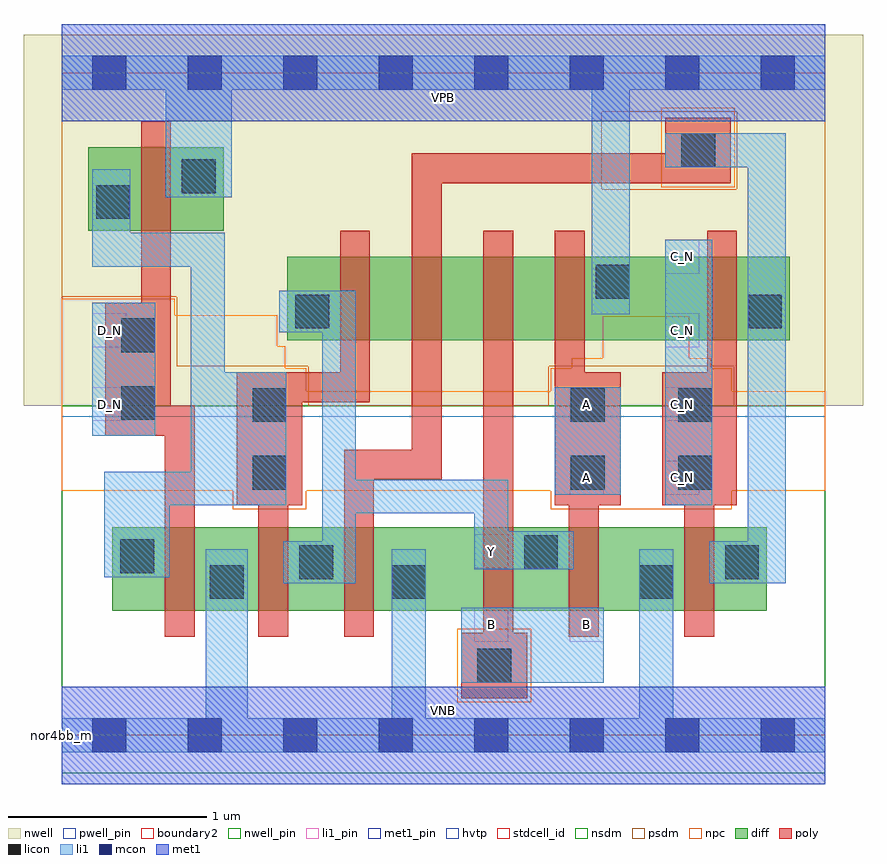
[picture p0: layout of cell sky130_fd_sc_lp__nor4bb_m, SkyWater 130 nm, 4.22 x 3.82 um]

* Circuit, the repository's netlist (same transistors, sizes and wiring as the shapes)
* Copyright 2020 The SkyWater PDK Authors
*
* Licensed under the Apache License, Version 2.0 (the "License");
* you may not use this file except in compliance with the License.
* You may obtain a copy of the License at
*
*     https://www.apache.org/licenses/LICENSE-2.0
*
* Unless required by applicable law or agreed to in writing, software
* distributed under the License is distributed on an "AS IS" BASIS,
* WITHOUT WARRANTIES OR CONDITIONS OF ANY KIND, either express or implied.
* See the License for the specific language governing permissions and
* limitations under the License.
*
* SPDX-License-Identifier: Apache-2.0

.SUBCKT sky130_fd_sc_lp__nor4bb_m A B C_N D_N VGND VNB VPB VPWR Y
*.PININFO A:I B:I C_N:I D_N:I VGND:I VNB:I VPB:I VPWR:I Y:O
MMP0 VPWR A sndPA VPB sky130_fd_pr__pfet_01v8_hvt m=1 w=0.42U l=0.15U mult=1 sa=0.265
+ sb=0.265 sd=0.28 area=0.063 perim=1.14
MMP1 sndPA B sndPB VPB sky130_fd_pr__pfet_01v8_hvt m=1 w=0.42U l=0.15U mult=1 sa=0.265
+ sb=0.265 sd=0.28 area=0.063 perim=1.14
MMP2 sndPB C sndPC VPB sky130_fd_pr__pfet_01v8_hvt m=1 w=0.42U l=0.15U mult=1 sa=0.265
+ sb=0.265 sd=0.28 area=0.063 perim=1.14
MMP3 sndPC D Y VPB sky130_fd_pr__pfet_01v8_hvt m=1 w=0.42U l=0.15U mult=1 sa=0.265
+ sb=0.265 sd=0.28 area=0.063 perim=1.14
MMIP2 C C_N VPWR VPB sky130_fd_pr__pfet_01v8_hvt m=1 w=0.42U l=0.15U mult=1 sa=0.265
+ sb=0.265 sd=0.28 area=0.063 perim=1.14
MMIP3 D D_N VPWR VPB sky130_fd_pr__pfet_01v8_hvt m=1 w=0.42U l=0.15U mult=1 sa=0.265
+ sb=0.265 sd=0.28 area=0.063 perim=1.14
MMN0 Y A VGND VNB sky130_fd_pr__nfet_01v8 m=1 w=0.42U l=0.15U mult=1 sa=0.265 sb=0.265
+ sd=0.28 area=0.063 perim=1.14
MMN1 Y B VGND VNB sky130_fd_pr__nfet_01v8 m=1 w=0.42U l=0.15U mult=1 sa=0.265 sb=0.265
+ sd=0.28 area=0.063 perim=1.14
MMN2 Y C VGND VNB sky130_fd_pr__nfet_01v8 m=1 w=0.42U l=0.15U mult=1 sa=0.265 sb=0.265
+ sd=0.28 area=0.063 perim=1.14
MMN3 Y D VGND VNB sky130_fd_pr__nfet_01v8 m=1 w=0.42U l=0.15U mult=1 sa=0.265 sb=0.265
+ sd=0.28 area=0.063 perim=1.14
MMIN2 C C_N VGND VNB sky130_fd_pr__nfet_01v8 m=1 w=0.42U l=0.15U mult=1 sa=0.265
+ sb=0.265 sd=0.28 area=0.063 perim=1.14
MMIN3 D D_N VGND VNB sky130_fd_pr__nfet_01v8 m=1 w=0.42U l=0.15U mult=1 sa=0.265
+ sb=0.265 sd=0.28 area=0.063 perim=1.14
.ENDS sky130_fd_sc_lp__nor4bb_m

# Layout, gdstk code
import gdstk
lib = gdstk.Library(unit=1e-6, precision=1e-09)
def R(c, l, rs):  # rectangles x0, y0, x1, y1
    for r in rs: c.add(gdstk.rectangle(r[:2], r[2:], *l))
def A(c, l, x, y, w, h, nx, ny, dx, dy):  # array of equal rectangles
    R(c, l, [(x+i*dx, y+j*dy, x+i*dx+w, y+j*dy+h) for i in range(nx) for j in range(ny)])
def P(c, l, *ps):  # polygons
    for p in ps: c.add(gdstk.Polygon(p, *l))
nwell_pin = (64, 16)
nwell = (64, 20)
diff = (65, 20)
poly = (66, 20)
licon = (66, 44)
li1_pin = (67, 16)
li1 = (67, 20)
mcon = (67, 44)
met1_pin = (68, 16)
met1 = (68, 20)
hvtp = (78, 44)
stdcell_id = (81, 4)
nsdm = (93, 44)
psdm = (94, 20)
npc = (95, 20)
pwell_pin = (122, 16)
boundary2 = (236, 0)

sky130_fd_sc_lp__nor4bb_ = lib.new_cell('sky130_fd_sc_lp__nor4bb_m')
R(sky130_fd_sc_lp__nor4bb_, nwell_pin, [(0,3.085,3.84,3.33)])
R(sky130_fd_sc_lp__nor4bb_, nwell, [(-0.19,1.655,4.03,3.52)])
R(sky130_fd_sc_lp__nor4bb_, diff, [(0.255,0.625,3.545,1.045), (1.135,1.985,3.66,2.405), (0.135,2.535,0.815,2.955)])
P(sky130_fd_sc_lp__nor4bb_, poly, [(0.67,1.655),(0.55,1.655),(0.55,3.085),(0.4,3.085),(0.4,2.175),(0.22,2.175),(0.22,1.505),(0.52,1.505),(0.52,0.495),(0.67,0.495)],
  [(1.55,2.535),(1.4,2.535),(1.4,1.825),(0.88,1.825),(0.88,1.155),(0.99,1.155),(0.99,0.495),(1.14,0.495),(1.14,1.155),(1.21,1.155),(1.21,1.675),(1.55,1.675)],
  [(2.34,0.515),(2.27,0.515),(2.27,2.535),(2.12,2.535),(2.12,0.515),(2.01,0.515),(2.01,0.185),(2.34,0.185)],
  [(2.81,1.825),(2.63,1.825),(2.63,2.535),(2.48,2.535),(2.48,1.155),(2.55,1.155),(2.55,0.495),(2.7,0.495),(2.7,1.155),(2.81,1.155)],
  [(3.365,3.105),(3.035,3.105),(3.035,2.925),(1.76,2.925),(1.76,1.435),(1.42,1.435),(1.42,0.495),(1.57,0.495),(1.57,1.285),(1.91,1.285),(1.91,2.775),(3.365,2.775)],
  [(3.395,2.535),(3.245,2.535),(3.245,1.825),(3.02,1.825),(3.02,1.155),(3.13,1.155),(3.13,0.495),(3.28,0.495),(3.28,1.155),(3.395,1.155)])
R(sky130_fd_sc_lp__nor4bb_, licon, [(2.09,0.265,2.26,0.435), (0.745,0.685,0.915,0.855), (1.66,0.685,1.83,0.855), (2.905,0.685,3.075,0.855), (1.195,0.785,1.365,0.955), (3.335,0.785,3.505,0.955), (0.295,0.815,0.465,0.985), (2.325,0.835,2.495,1.005), (0.96,1.235,1.13,1.405), (2.56,1.235,2.73,1.405), (3.1,1.235,3.27,1.405), (0.96,1.575,1.13,1.745), (2.56,1.575,2.73,1.745), (3.1,1.575,3.27,1.745), (0.3,1.585,0.47,1.755), (0.3,1.925,0.47,2.095), (1.175,2.045,1.345,2.215), (3.45,2.045,3.62,2.215), (2.685,2.195,2.855,2.365), (0.175,2.595,0.345,2.765), (0.605,2.725,0.775,2.895), (3.115,2.855,3.285,3.025)])
A(sky130_fd_sc_lp__nor4bb_, li1_pin, 3.035, 1.21, 0.17, 0.17, 1, 4, 0, 0.37)
R(sky130_fd_sc_lp__nor4bb_, li1_pin, [(2.075,0.47,2.245,0.64), (2.555,0.47,2.725,0.64), (2.075,0.84,2.245,1.01), (2.555,1.21,2.725,1.38), (0.155,1.58,0.325,1.75), (2.555,1.58,2.725,1.75), (0.155,1.95,0.325,2.12)])
R(sky130_fd_sc_lp__nor4bb_, li1, [(2.01,0.265,2.725,0.64), (3.035,1.155,3.27,2.49), (2.48,1.21,2.81,1.75), (0.155,1.505,0.47,2.175)])
P(sky130_fd_sc_lp__nor4bb_, li1, [(0.525,2.705),(0.525,3.245),(0,3.245),(0,3.415),(3.84,3.415),(3.84,3.245),(2.855,3.245),(2.855,2.115),(2.665,2.115),(2.665,3.245),(0.855,3.245),(0.855,2.705)],
  [(0.725,0.085),(0.725,0.935),(0.935,0.935),(0.935,0.085),(1.66,0.085),(1.66,0.935),(1.83,0.935),(1.83,0.085),(2.905,0.085),(2.905,0.935),(3.075,0.935),(3.075,0.085),(3.84,0.085),(3.84,-0.085),(0,-0.085),(0,0.085)],
  [(1.095,2.025),(1.095,2.235),(1.48,2.235),(1.48,1.285),(2.245,1.285),(2.245,1.025),(2.575,1.025),(2.575,0.835),(2.075,0.835),(2.075,1.115),(1.48,1.115),(1.48,0.765),(1.115,0.765),(1.115,0.975),(1.31,0.975),(1.31,2.025)],
  [(3.45,2.855),(3.035,2.855),(3.035,3.025),(3.64,3.025),(3.64,0.765),(3.255,0.765),(3.255,0.975),(3.45,0.975)],
  [(0.345,2.525),(0.82,2.525),(0.82,1.825),(1.13,1.825),(1.13,1.155),(0.545,1.155),(0.545,0.795),(0.215,0.795),(0.215,1.325),(0.65,1.325),(0.65,2.355),(0.155,2.355),(0.155,2.845),(0.345,2.845)])
A(sky130_fd_sc_lp__nor4bb_, mcon, 0.155, -0.085, 0.17, 0.17, 8, 2, 0.48, 3.33)
R(sky130_fd_sc_lp__nor4bb_, met1_pin, [(0,0,3.84,0.245), (0,3.085,3.84,3.33)])
R(sky130_fd_sc_lp__nor4bb_, met1, [(0,-0.245,3.84,0.245), (0,3.085,3.84,3.575)])
R(sky130_fd_sc_lp__nor4bb_, hvtp, [(0,1.6,3.84,3.33)])
R(sky130_fd_sc_lp__nor4bb_, stdcell_id, [(0,0,3.84,3.33)])
R(sky130_fd_sc_lp__nor4bb_, nsdm, [(0,-0.19,3.84,1.655)])
P(sky130_fd_sc_lp__nor4bb_, psdm, [(3.84,3.52),(3.395,3.52),(3.395,2.745),(2.715,2.745),(2.715,3.135),(3.395,3.135),(3.395,3.52),(0,3.52),(0,2.205),(0.58,2.205),(0.58,1.855),(1.24,1.855),(1.24,1.655),(2.45,1.655),(2.45,1.855),(3.38,1.855),(3.38,1.655),(3.84,1.655)])
R(sky130_fd_sc_lp__nor4bb_, npc, [(1.99,0.165,2.36,0.535), (3.015,2.755,3.385,3.155)])
P(sky130_fd_sc_lp__nor4bb_, npc, [(3.84,1.73),(3.37,1.73),(3.37,1.845),(3.265,1.845),(3.265,1.895),(3.155,1.895),(3.155,2.105),(2.72,2.105),(2.72,1.895),(2.565,1.895),(2.565,1.845),(2.46,1.845),(2.46,1.73),(1.23,1.73),(1.23,1.845),(1.125,1.845),(1.125,1.955),(1.085,1.955),(1.085,2.11),(0.57,2.11),(0.57,2.195),(0,2.195),(0,1.23),(0.86,1.23),(0.86,1.135),(1.23,1.135),(1.23,1.23),(2.46,1.23),(2.46,1.135),(3.37,1.135),(3.37,1.23),(3.84,1.23)])
R(sky130_fd_sc_lp__nor4bb_, pwell_pin, [(0,0,3.84,0.245)])
R(sky130_fd_sc_lp__nor4bb_, boundary2, [(0,0,3.84,3.33)])
sky130_fd_sc_lp__nor4bb_.add(gdstk.Label('VNB', (1.92,0.123), layer=64, texttype=59))
sky130_fd_sc_lp__nor4bb_.add(gdstk.Label('VPB', (1.92,3.208), layer=64, texttype=5))
sky130_fd_sc_lp__nor4bb_.add(gdstk.Label('nor4bb_m', (0,0), layer=83, texttype=44))
sky130_fd_sc_lp__nor4bb_.add(gdstk.Label('VPWR', (1.92,3.208), layer=68, texttype=5))
sky130_fd_sc_lp__nor4bb_.add(gdstk.Label('VGND', (1.92,0.123), layer=68, texttype=5))
sky130_fd_sc_lp__nor4bb_.add(gdstk.Label('Y', (2.16,0.925), layer=67, texttype=5))
sky130_fd_sc_lp__nor4bb_.add(gdstk.Label('C_N', (3.12,1.295), layer=67, texttype=5))
sky130_fd_sc_lp__nor4bb_.add(gdstk.Label('C_N', (3.12,1.665), layer=67, texttype=5))
sky130_fd_sc_lp__nor4bb_.add(gdstk.Label('C_N', (3.12,2.035), layer=67, texttype=5))
sky130_fd_sc_lp__nor4bb_.add(gdstk.Label('C_N', (3.12,2.405), layer=67, texttype=5))
sky130_fd_sc_lp__nor4bb_.add(gdstk.Label('A', (2.64,1.295), layer=67, texttype=5))
sky130_fd_sc_lp__nor4bb_.add(gdstk.Label('A', (2.64,1.665), layer=67, texttype=5))
sky130_fd_sc_lp__nor4bb_.add(gdstk.Label('B', (2.16,0.555), layer=67, texttype=5))
sky130_fd_sc_lp__nor4bb_.add(gdstk.Label('B', (2.64,0.555), layer=67, texttype=5))
sky130_fd_sc_lp__nor4bb_.add(gdstk.Label('D_N', (0.24,1.665), layer=67, texttype=5))
sky130_fd_sc_lp__nor4bb_.add(gdstk.Label('D_N', (0.24,2.035), layer=67, texttype=5))

lib.write_gds('sky130_fd_sc_lp__nor4bb_m.gds')
